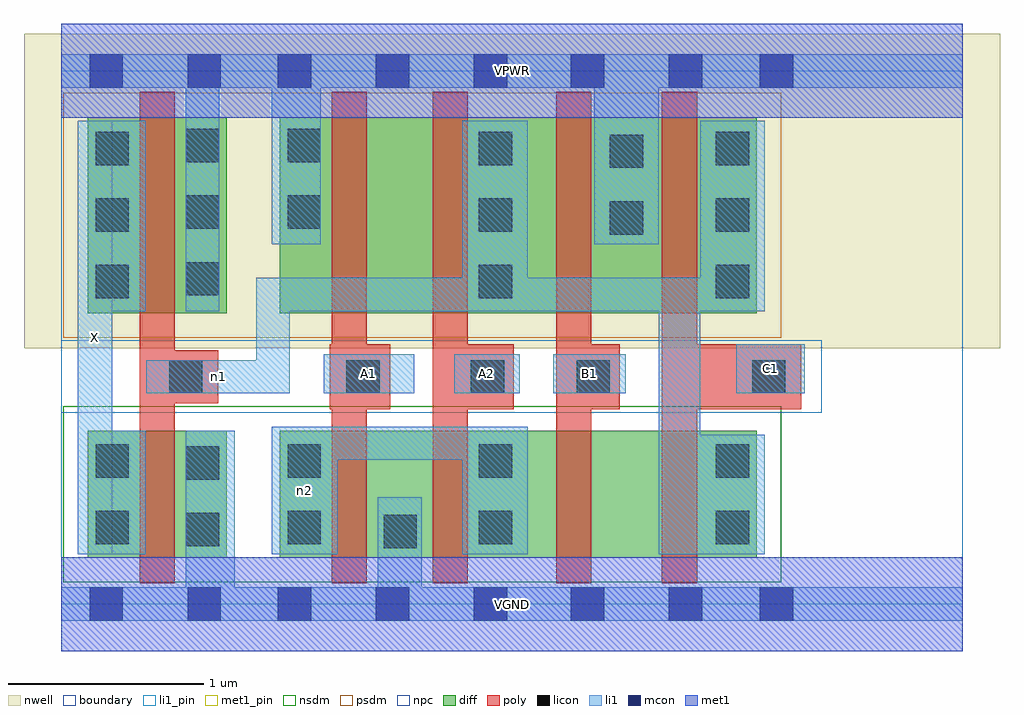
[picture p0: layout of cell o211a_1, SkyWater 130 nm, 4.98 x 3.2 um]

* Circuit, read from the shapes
.subckt o211a_1 A1 A2 B1 C1 VGND VPWR X n1 n2
XM1 VGND n1 X VSUBS sky130_fd_pr__nfet_01v8 w=0.65 l=0.18
XM2 VGND A1 n2 VSUBS sky130_fd_pr__nfet_01v8 w=0.65 l=0.18
XM3 n2 A2 VGND VSUBS sky130_fd_pr__nfet_01v8 w=0.65 l=0.18
XM4 n3 B1 n2 VSUBS sky130_fd_pr__nfet_01v8 w=0.65 l=0.18
XM5 n1 C1 n3 VSUBS sky130_fd_pr__nfet_01v8 w=0.65 l=0.18
XM6 VPWR n1 X n4 sky130_fd_pr__pfet_01v8 w=1 l=0.18
XM7 n5 A1 VPWR n4 sky130_fd_pr__pfet_01v8 w=1 l=0.18
XM8 n1 A2 n5 n4 sky130_fd_pr__pfet_01v8 w=1 l=0.18
XM9 VPWR B1 n1 n4 sky130_fd_pr__pfet_01v8 w=1 l=0.18
XM10 n1 C1 VPWR n4 sky130_fd_pr__pfet_01v8 w=1 l=0.18
.ends

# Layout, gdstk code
import gdstk
lib = gdstk.Library(unit=1e-6, precision=1e-09)
def R(c, l, rs):  # rectangles x0, y0, x1, y1
    for r in rs: c.add(gdstk.rectangle(r[:2], r[2:], *l))
def A(c, l, x, y, w, h, nx, ny, dx, dy):  # array of equal rectangles
    R(c, l, [(x+i*dx, y+j*dy, x+i*dx+w, y+j*dy+h) for i in range(nx) for j in range(ny)])
nwell = (64, 20)
diff = (65, 20)
poly = (66, 20)
licon = (66, 44)
li1_pin = (67, 16)
li1 = (67, 20)
mcon = (67, 44)
met1_pin = (68, 16)
met1 = (68, 20)
nsdm = (93, 44)
psdm = (94, 20)
npc = (95, 20)
boundary = (235, 4)

o211a_1 = lib.new_cell('o211a_1')
R(o211a_1, nwell, [(-0.19,1.305,4.79,2.91), (0,1.305,4.6,2.91)])
R(o211a_1, diff, [(0.135,0.235,0.845,0.885), (1.115,0.235,3.55,0.885), (0.135,1.485,0.845,2.485), (1.115,1.485,3.55,2.485)])
R(o211a_1, poly, [(0.4,0.105,0.58,2.615), (1.38,0.105,1.56,2.615), (1.895,0.105,2.075,2.615), (2.525,0.105,2.705,2.615), (3.065,0.105,3.245,2.615), (1.37,0.995,1.68,1.325), (1.895,0.995,2.31,1.325), (2.525,0.995,2.85,1.325), (3.065,0.995,3.775,1.325), (0.4,1.025,0.8,1.295)])
A(o211a_1, licon, 0.175, 1.56, 0.17, 0.17, 1, 3, 0, 0.34)
A(o211a_1, licon, 2.13, 1.56, 0.17, 0.17, 1, 3, 0, 0.34)
A(o211a_1, licon, 3.34, 1.56, 0.17, 0.17, 1, 3, 0, 0.34)
A(o211a_1, licon, 0.635, 1.575, 0.17, 0.17, 1, 3, 0, 0.34)
R(o211a_1, licon, [(1.645,0.285,1.815,0.455), (0.635,0.295,0.805,0.465), (0.175,0.305,0.345,0.475), (1.155,0.305,1.325,0.475), (2.13,0.305,2.3,0.475), (3.34,0.305,3.51,0.475), (0.635,0.635,0.805,0.805), (0.175,0.645,0.345,0.815), (1.155,0.645,1.325,0.815), (2.13,0.645,2.3,0.815), (3.34,0.645,3.51,0.815), (0.55,1.075,0.72,1.245), (1.455,1.075,1.625,1.245), (2.09,1.075,2.26,1.245), (2.63,1.075,2.8,1.245), (3.525,1.075,3.695,1.245), (2.8,1.885,2.97,2.055), (1.155,1.915,1.325,2.085), (2.8,2.225,2.97,2.395), (1.155,2.255,1.325,2.425)])
R(o211a_1, li1_pin, [(0.085,0.255,0.26,2.465), (1.34,1.075,1.8,1.275), (2.005,1.075,2.34,1.275), (2.51,1.075,2.88,1.275), (3.445,1.075,3.795,1.325)])
R(o211a_1, li1, [(0,-0.085,4.6,0.085), (0.635,-0.085,0.885,0.885), (1.615,-0.085,1.84,0.545), (0.085,0.255,0.26,2.465), (0.085,0.255,0.43,0.885), (1.075,0.255,1.41,0.905), (2.045,0.255,2.38,0.905), (3.05,0.255,3.59,0.865), (3.05,0.255,3.26,1.665), (1.075,0.735,2.38,0.905), (0.435,1.075,1.165,1.245), (0.995,1.075,1.165,1.665), (1.34,1.075,1.8,1.275), (2.005,1.075,2.34,1.275), (2.51,1.075,2.88,1.275), (3.445,1.075,3.795,1.325), (0.085,1.495,0.43,2.465), (0.635,1.495,0.805,2.805), (0.995,1.495,3.59,1.665), (2.045,1.495,2.38,2.465), (3.26,1.495,3.59,2.465), (1.075,1.835,1.325,2.805), (2.72,1.835,3.05,2.805), (0,2.635,4.6,2.805)])
A(o211a_1, mcon, 1.105, -0.085, 0.17, 0.17, 3, 2, 0.5, 2.72)
R(o211a_1, mcon, [(0.145,-0.085,0.315,0.085), (0.645,-0.085,0.815,0.085), (2.6,-0.085,2.77,0.085), (3.1,-0.085,3.27,0.085), (3.565,-0.085,3.735,0.085), (0.145,2.635,0.315,2.805), (0.645,2.635,0.815,2.805), (2.6,2.635,2.77,2.805), (3.1,2.635,3.27,2.805), (3.565,2.635,3.735,2.805)])
R(o211a_1, met1_pin, [(0,-0.24,4.6,0.24), (0,2.48,4.6,2.96)])
R(o211a_1, met1, [(0,-0.24,4.6,0.24), (0,2.48,4.6,2.96)])
R(o211a_1, nsdm, [(0.01,0.11,3.675,1.01)])
R(o211a_1, psdm, [(0.01,1.36,3.675,2.61)])
R(o211a_1, npc, [(0,0.975,3.88,1.345)])
R(o211a_1, boundary, [(0,0,4.6,2.72)])
o211a_1.add(gdstk.Label('A1', (1.57,1.175), layer=67, texttype=5))
o211a_1.add(gdstk.Label('A2', (2.172,1.175), layer=67, texttype=5))
o211a_1.add(gdstk.Label('B1', (2.695,1.175), layer=67, texttype=5))
o211a_1.add(gdstk.Label('C1', (3.62,1.2), layer=67, texttype=5))
o211a_1.add(gdstk.Label('X', (0.172,1.36), layer=67, texttype=5))
o211a_1.add(gdstk.Label('n2', (1.242,0.58), layer=67, texttype=5))
o211a_1.add(gdstk.Label('n1', (0.8,1.16), layer=67, texttype=5))
o211a_1.add(gdstk.Label('VPWR', (2.3,2.72), layer=68, texttype=5))
o211a_1.add(gdstk.Label('VGND', (2.3,0), layer=68, texttype=5))
o211a_1.add(gdstk.Label('A1', (1.57,1.175), layer=67, texttype=16))
o211a_1.add(gdstk.Label('A2', (2.172,1.175), layer=67, texttype=16))
o211a_1.add(gdstk.Label('B1', (2.695,1.175), layer=67, texttype=16))
o211a_1.add(gdstk.Label('C1', (3.62,1.2), layer=67, texttype=16))
o211a_1.add(gdstk.Label('X', (0.172,1.36), layer=67, texttype=16))
o211a_1.add(gdstk.Label('VPWR', (2.3,2.72), layer=68, texttype=16))
o211a_1.add(gdstk.Label('VGND', (2.3,0), layer=68, texttype=16))

lib.write_gds('o211a_1.gds')
